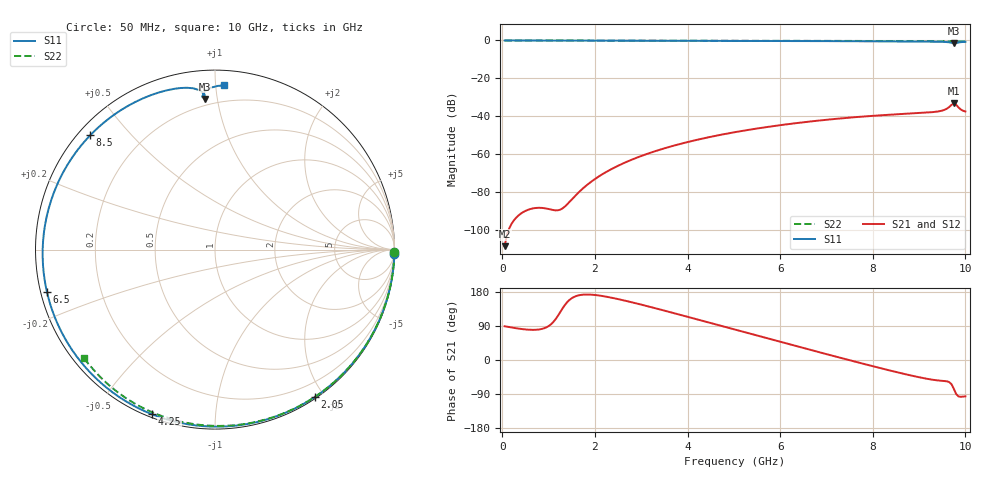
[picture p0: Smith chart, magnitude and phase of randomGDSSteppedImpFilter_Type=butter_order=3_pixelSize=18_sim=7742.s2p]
! freq	dB(S11)	phase(S11)	dB(S12)	phase(S12)
!  dB(S21)	phase(S21)	dB(S22)	phase(S22)
!S-par simulation data
#  GHz  S  DB  R 50
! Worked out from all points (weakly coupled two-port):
!   200 points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, 50 MHz to 10 GHz, reference 50 ohm
!   highest |S21| = -33.22 dB at 9.75 GHz (marker M1); lowest = -108.5 dB at 50 MHz (marker M2)
!   lowest |S11| = -1.5 dB at 9.75 GHz (marker M3), VSWR 11.61, Z = 8 + j46 ohm
!   |S11| at or under -10 dB: nowhere
!   |S22| runs from -0.5 to 0.0 dB; largest |S21 - S12| = 0
!   S11 on the Smith chart (normalised r, x): 50 MHz: 1, -81; 2.05 GHz: 0.02, -1.89; 4.25 GHz: 0.01, -0.69; 6.5 GHz: 0.02, -0.12; 8.5 GHz: 0.03, +0.39; 10 GHz: 0.09, +1.06
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0.05  -0.00 -1.4  -108.46 89.1  -108.46 89.1  -0.00 -0.8
0.8  -0.03 -22.2  -88.23 80.7  -88.23 80.7  -0.02 -12.9
1.65  -0.06 -45.2  -80.06 170.7  -80.06 170.7  -0.03 -26.5
1.75  -0.06 -47.9  -77.81 172.5  -77.81 172.5  -0.04 -28.0
2.05  -0.07 -55.8  -72.25 170.9  -72.25 170.9  -0.04 -32.7
2.65  -0.09 -71.3  -64.37 156.6  -64.37 156.6  -0.05 -42.0
3.4  -0.12 -90.2  -57.62 133.5  -57.62 133.5  -0.07 -53.3
4.25  -0.15 -111.0  -52.13 105.8  -52.13 105.8  -0.09 -65.7
5.05  -0.20 -130.2  -48.24 79.3  -48.24 79.3  -0.12 -77.0
5.8  -0.25 -148.4  -45.34 54.6  -45.34 54.6  -0.15 -87.3
6.5  -0.30 -165.9  -43.14 31.7  -43.14 31.7  -0.18 -96.6
6.7  -0.32 -171.0  -42.59 25.2  -42.59 25.2  -0.19 -99.2
7.55  -0.40 166.1  -40.59 -2.2  -40.59 -2.2  -0.25 -110.1
8.35  -0.49 142.3  -39.18 -27.1  -39.18 -27.1  -0.31 -120.1
8.5  -0.51 137.5  -38.97 -31.6  -38.97 -31.6  -0.32 -122.0
9  -0.58 120.7  -38.29 -45.5  -38.29 -45.5  -0.37 -128.2
9.45  -0.69 104.0  -37.25 -54.4  -37.25 -54.4  -0.41 -133.7
9.6  -0.85 97.6  -35.97 -56.2  -35.97 -56.2  -0.43 -135.5
9.7  -1.25 93.8  -33.98 -63.9  -33.98 -63.9  -0.44 -136.7
9.75  -1.50 94.0  -33.22 -76.0  -33.22 -76.0  -0.44 -137.4
9.85  -1.06 93.6  -35.28 -96.2  -35.28 -96.2  -0.45 -138.6
10  -0.75 86.7  -37.46 -95.8  -37.46 -95.8  -0.47 -140.5
